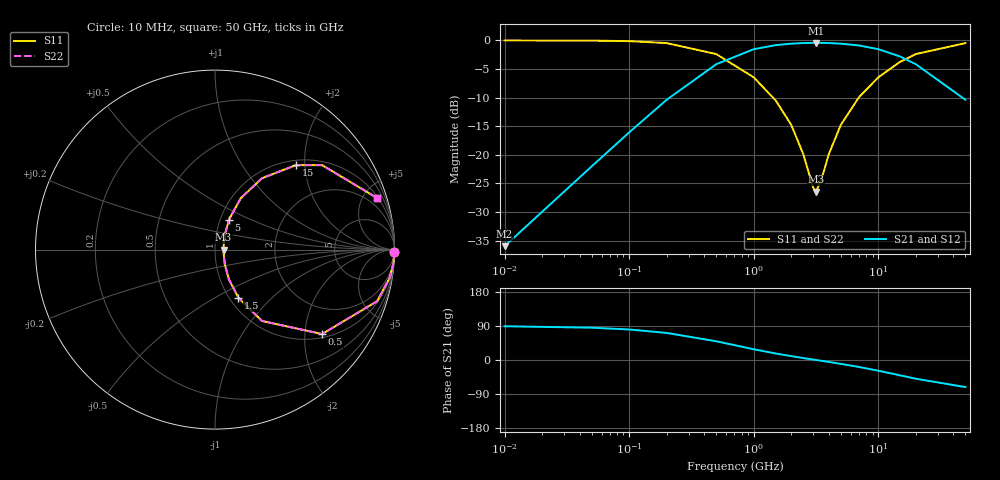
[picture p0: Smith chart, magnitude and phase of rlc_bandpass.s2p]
! RLC Bandpass 2-port: series R=5, L=1nH, C=2.53pF
! Resonance at ~3.16 GHz (series resonance)
! Format: RI (Real-Imaginary)
# GHz S RI R 50
! Freq  S11re S11im  S21re S21im  S12re S12im  S22re S22im
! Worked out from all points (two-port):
!   19 points, 10 MHz to 50 GHz, reference 50 ohm
!   highest |S21| = -0.42 dB at 3.16 GHz (marker M1); lowest = -36.0 dB at 10 MHz (marker M2)
!   |S21| within 3 dB of the highest: 639.4 MHz to 17.26 GHz (16.62 GHz wide, 186 % of centre)
!   lowest |S11| = -26.4 dB at 3.16 GHz (marker M3), VSWR 1.10, Z = 55 - j0.0289 ohm
!   |S11| at or under -10 dB: 1.439 GHz to 6.963 GHz (5.524 GHz wide, 131 % of centre)
!   |S22| runs from -26.4 to 0.0 dB; largest |S21 - S12| = 0
!   S11 on the Smith chart (normalised r, x): 10 MHz: open; 500 MHz: 1.10, -2.45; 1.5 GHz: 1.10, -0.65; 5 GHz: 1.10, +0.38; 15 GHz: 1.10, +1.80; 50 GHz: 1.10, +6.26
0.01  0.9997 -0.0159  0.000266 0.0159  0.000266 0.0159  0.9997 -0.0159
0.05  0.9934 -0.079  0.00661 0.079  0.00661 0.079  0.9934 -0.079
0.1  0.9741 -0.155  0.0259 0.155  0.0259 0.155  0.9741 -0.155
0.2  0.9036 -0.2872  0.0964 0.2872  0.0964 0.2872  0.9036 -0.2872
0.5  0.5967 -0.4706  0.4033 0.4706  0.4033 0.4706  0.5967 -0.4706
1  0.2618 -0.3976  0.7382 0.3976  0.7382 0.3976  0.2618 -0.3976
1.5  0.1307 -0.2688  0.8693 0.2688  0.8693 0.2688  0.1307 -0.2688
2  0.0774 -0.1656  0.9226 0.1656  0.9226 0.1656  0.0774 -0.1656
2.5  0.0552 -0.0848  0.9448 0.0848  0.9448 0.0848  0.0552 -0.0848
3  0.048 -0.019  0.952 0.019  0.952 0.019  0.048 -0.019
3.16  0.0476 -0.000262  0.9524 0.000262  0.9524 0.000262  0.0476 -0.000262
3.5  0.049 0.0366  0.951 -0.0366  0.951 -0.0366  0.049 0.0366
4  0.0552 0.0848  0.9448 -0.0848  0.9448 -0.0848  0.0552 0.0848
5  0.0774 0.1656  0.9226 -0.1656  0.9226 -0.1656  0.0774 0.1656
7  0.1429 0.2858  0.8571 -0.2858  0.8571 -0.2858  0.1429 0.2858
10  0.2617 0.3976  0.7383 -0.3976  0.7383 -0.3976  0.2617 0.3976
15  0.4513 0.4706  0.5487 -0.4706  0.5487 -0.4706  0.4513 0.4706
20  0.5967 0.4706  0.4033 -0.4706  0.4033 -0.4706  0.5967 0.4706
50  0.9036 0.2872  0.0964 -0.2872  0.0964 -0.2872  0.9036 0.2872
